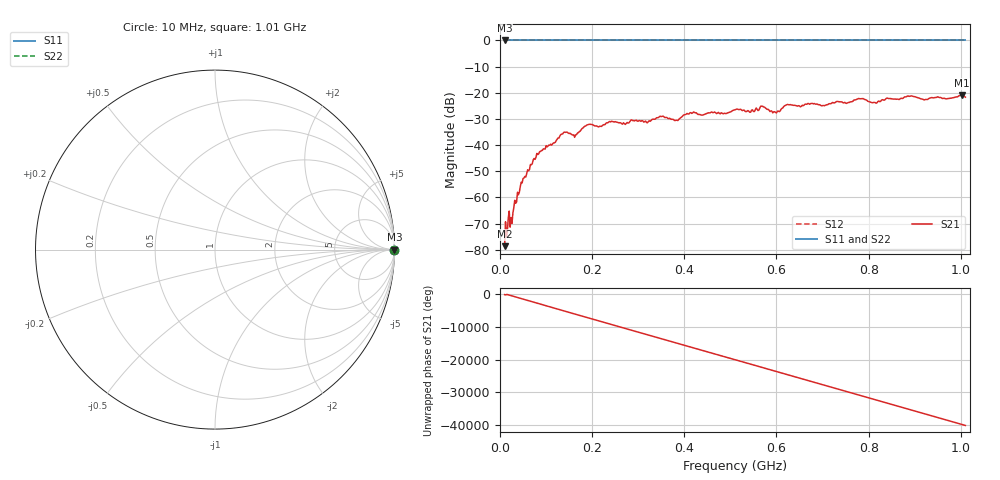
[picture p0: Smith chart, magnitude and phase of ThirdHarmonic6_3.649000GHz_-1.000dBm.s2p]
! 8/17/2025 12:16:55 PM
! C:\ANRITSUVNA\TEMP\TEMP.S2P
! CHANNEL.1
! TR.MEASUREMENT
! RAW.DATA
! RF.CORRECTION.OFF
! AVERAGING.OFF
! IF.BANDWIDTH: 5KHZ
! SWEEPTYPE:  FREQ.SWEEP(Linear)
! Reference Plane Port Info
! PORT:  PORT1  PORT2
! DISTANCE:  0  m  0  m
! TIME:  0  s  0  s
! PHASE.OFFSET:  0  deg.  0  deg.
! LOSS:  0  dB  0  dB
! REF.LOSS:  0  dB  0  dB
! REF.FREQ:  0  Hz  0  Hz
! Power Info
! POWER:  -20  dBm  -20  dBm
! EFF.POWER:  -20  dBm  -20  dBm
! SOURCE.ATTEN:  0  dB  0  dB
! TEST.ATTEN:  0  dB  0  dB
# GHZ S RI R 50.0
! FREQ.GHZ  S11RE  S11IM  S21RE  S21IM  S12RE  S12IM  S22RE  S22IM
!; PortSelection: Port_12
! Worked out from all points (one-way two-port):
!   501 points, 10 MHz to 1.01 GHz, reference 50 ohm
!   highest |S21| = -21.00 dB at 1.002 GHz (marker M1); lowest = -78.6 dB at 10 MHz (marker M2)
!   lowest |S11| = 0.0 dB at 10 MHz (marker M3)
!   |S11| at or under -10 dB: nowhere
!   |S22| runs from 0.0 to 0.0 dB; largest |S21 - S12| = 1.1
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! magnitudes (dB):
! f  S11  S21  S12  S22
! 10 MHz  0.0  -78.6  0.0  0.0
! 16 MHz  0.0  -73.0  0.0  0.0
! 26 MHz  0.0  -69.9  0.0  0.0
! 34 MHz  0.0  -62.2  0.0  0.0
! 48 MHz  0.0  -54.5  0.0  0.0
! 76 MHz  0.0  -45.5  0.0  0.0
! 136 MHz  0.0  -35.7  0.0  0.0
! 162 MHz  0.0  -37.0  0.0  0.0
! 178 MHz  0.0  -33.7  0.0  0.0
! 344 MHz  0.0  -29.5  0.0  0.0
! 382 MHz  0.0  -30.5  0.0  0.0
! 416 MHz  0.0  -27.9  0.0  0.0
! 510 MHz  0.0  -26.5  0.0  0.0
! 546 MHz  0.0  -26.6  0.0  0.0
! 570 MHz  0.0  -25.1  0.0  0.0
! 596 MHz  0.0  -27.2  0.0  0.0
! 622 MHz  0.0  -24.6  0.0  0.0
! 678 MHz  0.0  -24.1  0.0  0.0
! 814 MHz  0.0  -23.7  0.0  0.0
! 844 MHz  0.0  -22.2  0.0  0.0
! 1.002 GHz  0.0  -21.0  0.0  0.0
! 1.01 GHz  0.0  -21.7  0.0  0.0
